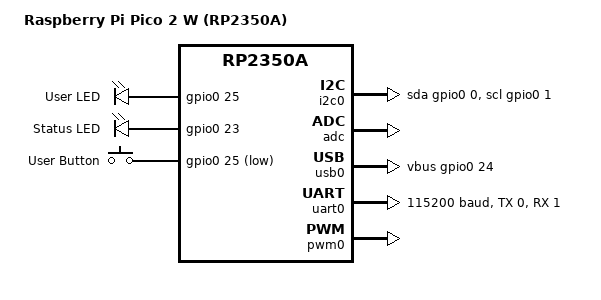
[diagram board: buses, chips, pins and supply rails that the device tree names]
/* ─── RP2350A Pico 2 W Devicetree ─── */
/dts-v1/;

#include <rp2350a.dtsi>
#include <dt-bindings/gpio/gpio.h>

/ {
	model = "Raspberry Pi Pico 2 W (RP2350A)";
	compatible = "raspberrypi,pico2-w", "raspberrypi,rp2350a";

	chosen {
		zephyr,console = &uart0;
		zephyr,shell-uart = &uart0;
		zephyr,sram = &sram0;
		zephyr,flash = &flash0;
		zephyr,code-partition = &slot0_partition;
	};

	leds {
		compatible = "gpio-leds";
		led0: led_0 {
			gpios = <&gpio0 25 GPIO_ACTIVE_HIGH>;
			label = "User LED";
		};
		status_led: status_led {
			gpios = <&gpio0 23 GPIO_ACTIVE_HIGH>;  /* WL_GPIO0 */
			label = "Status LED";
		};
	};

	gpio_keys {
		compatible = "gpio-keys";
		sw0: sw_0 {
			gpios = <&gpio0 25 GPIO_ACTIVE_LOW>;
			label = "User Button";
			zephyr,code = <KEY_0>;
		};
	};
};

/* ─── I2C0 for Bus Sniffer (GP0/GP1) ─── */
&i2c0 {
	status = "okay";
	sda-gpios = <&gpio0 0 GPIO_ACTIVE_HIGH>;
	scl-gpios = <&gpio0 1 GPIO_ACTIVE_HIGH>;
	pinctrl-0 = <&i2c0_default>;
	pinctrl-names = "default";
};

/* ─── ADC for Rail/Component Probe (GP26/GP27) ─── */
&adc {
	status = "okay";
};

/* ─── USB CDC-ACM ─── */
&usb0 {
	status = "okay";
	vbus-gpios = <&gpio0 24 GPIO_ACTIVE_HIGH>;
};

/* ─── UART0 for Console ─── */
&uart0 {
	status = "okay";
	current-speed = <115200>;
	tx-pin = <0>;
	rx-pin = <1>;
};

/* ─── PWM for Stimulus (optional) ─── */
&pwm0 {
	status = "okay";
};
